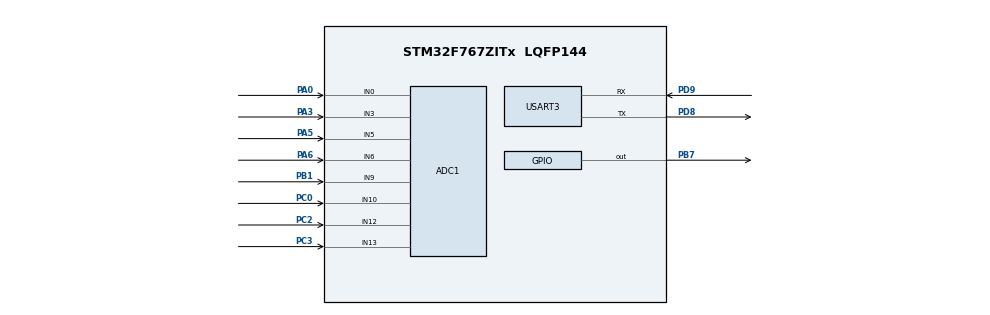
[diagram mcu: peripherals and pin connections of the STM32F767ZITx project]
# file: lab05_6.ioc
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ADC1.Channel-0\#ChannelRegularConversion=ADC_CHANNEL_3
ADC1.Channel-1\#ChannelRegularConversion=ADC_CHANNEL_10
ADC1.Channel-2\#ChannelRegularConversion=ADC_CHANNEL_13
ADC1.Channel-3\#ChannelRegularConversion=ADC_CHANNEL_0
ADC1.Channel-4\#ChannelRegularConversion=ADC_CHANNEL_9
ADC1.Channel-5\#ChannelRegularConversion=ADC_CHANNEL_12
ADC1.Channel-6\#ChannelRegularConversion=ADC_CHANNEL_5
ADC1.Channel-7\#ChannelRegularConversion=ADC_CHANNEL_6
ADC1.ContinuousConvMode=ENABLE
ADC1.DMAContinuousRequests=ENABLE
ADC1.EOCSelection=ADC_EOC_SINGLE_CONV
ADC1.NbrOfConversion=8
ADC1.NbrOfConversionFlag=1
ADC1.Rank-0\#ChannelRegularConversion=1
ADC1.Rank-1\#ChannelRegularConversion=2
ADC1.Rank-2\#ChannelRegularConversion=3
ADC1.Rank-3\#ChannelRegularConversion=4
ADC1.Rank-4\#ChannelRegularConversion=5
ADC1.Rank-5\#ChannelRegularConversion=6
ADC1.Rank-6\#ChannelRegularConversion=7
ADC1.Rank-7\#ChannelRegularConversion=8
ADC1.SamplingTime-0\#ChannelRegularConversion=ADC_SAMPLETIME_15CYCLES
ADC1.SamplingTime-1\#ChannelRegularConversion=ADC_SAMPLETIME_15CYCLES
ADC1.SamplingTime-2\#ChannelRegularConversion=ADC_SAMPLETIME_15CYCLES
ADC1.SamplingTime-3\#ChannelRegularConversion=ADC_SAMPLETIME_15CYCLES
ADC1.SamplingTime-4\#ChannelRegularConversion=ADC_SAMPLETIME_15CYCLES
ADC1.SamplingTime-5\#ChannelRegularConversion=ADC_SAMPLETIME_15CYCLES
ADC1.SamplingTime-6\#ChannelRegularConversion=ADC_SAMPLETIME_15CYCLES
ADC1.SamplingTime-7\#ChannelRegularConversion=ADC_SAMPLETIME_15CYCLES
ADC1.master=1
Dma.ADC1.0.Direction=DMA_PERIPH_TO_MEMORY
Dma.ADC1.0.FIFOMode=DMA_FIFOMODE_DISABLE
Dma.ADC1.0.Instance=DMA2_Stream0
Dma.ADC1.0.MemDataAlignment=DMA_MDATAALIGN_WORD
Dma.ADC1.0.MemInc=DMA_MINC_ENABLE
Dma.ADC1.0.Mode=DMA_CIRCULAR
Dma.ADC1.0.PeriphDataAlignment=DMA_PDATAALIGN_WORD
Dma.ADC1.0.PeriphInc=DMA_PINC_DISABLE
Dma.ADC1.0.Priority=DMA_PRIORITY_LOW
Dma.Request0=ADC1
Mcu.Family=STM32F7
Mcu.Name=STM32F767ZITx
Mcu.Package=LQFP144
NVIC.DMA2_Stream0_IRQn=true\:1\:0\:true\:false\:true\:false\:true\:true
NVIC.PriorityGroup=NVIC_PRIORITYGROUP_2
PA0/WKUP.Signal=ADCx_IN0
PA3.Signal=ADCx_IN3
PA5.Signal=ADCx_IN5
PA6.Signal=ADCx_IN6
PB1.Signal=ADCx_IN9
PB7.Signal=GPIO_Output
PC0.Signal=ADCx_IN10
PC2.Signal=ADCx_IN12
PC3.Signal=ADCx_IN13
PD8.Mode=Asynchronous
PD8.Signal=USART3_TX
PD9.Mode=Asynchronous
PD9.Signal=USART3_RX
ProjectManager.HeapSize=0x200
ProjectManager.StackSize=0x400
ProjectManager.TargetToolchain=STM32CubeIDE
RCC.HSE_VALUE=25000000
RCC.HSI_VALUE=16000000
RCC.LSE_VALUE=32768
RCC.USBFreq_Value=96000000
RCC.VCOOutputFreq_Value=192000000
SH.ADCx_IN0.0=ADC1_IN0,IN0
SH.ADCx_IN10.0=ADC1_IN10,IN10
SH.ADCx_IN12.0=ADC1_IN12,IN12
SH.ADCx_IN13.0=ADC1_IN13,IN13
SH.ADCx_IN3.0=ADC1_IN3,IN3
SH.ADCx_IN5.0=ADC1_IN5,IN5
SH.ADCx_IN6.0=ADC1_IN6,IN6
SH.ADCx_IN9.0=ADC1_IN9,IN9
USART3.VirtualMode-Asynchronous=VM_ASYNC
board=custom

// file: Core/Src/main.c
/* USER CODE BEGIN Header */
/**
  ******************************************************************************
  * @file           : main.c
  * @brief          : Main program body
  ******************************************************************************
  * @attention
  *
  * Copyright (c) 2022 STMicroelectronics.
  * All rights reserved.
  *
  * This software is licensed under terms that can be found in the LICENSE file
  * in the root directory of this software component.
  * If no LICENSE file comes with this software, it is provided AS-IS.
  *
  ******************************************************************************
  */
/* USER CODE END Header */
#include "main.h"
#include "adc.h"
#include "dma.h"
#include "usart.h"
#include "gpio.h"

/* USER CODE BEGIN Includes */
#include "stdio.h"
#include "string.h"
/* USER CODE END Includes */

/* USER CODE BEGIN PV */
uint32_t adc_val[7];
uint32_t temp[] = {3,10,13,0,9,12,5,6};
/* USER CODE END PV */

void SystemClock_Config(void);

/* USER CODE BEGIN 0 */
void displayHEX(uint32_t value[]) {
//	char b[100];
//	float x = (value * 3.3) / 4095;
//	sprintf(b, "0x%08X x = %.2f real value = %d\n\r", value, x, value);
//	HAL_UART_Transmit(&huart3, (uint32_t*) b, strlen(b), 1000);
//	HAL_Delay(400);
	char b[100];
//	float x = (value * 3.3) / 4095;
	for(int i = 0;i < 8; i++){
	sprintf(b, "ADC1 PIN = %d, 0x%08X, Vin = %.2f real value = %d\n\r",temp[i],  value[i], value[i] * 3.3 /4095, value[i]);
	HAL_UART_Transmit(&huart3, (uint32_t*) b, strlen(b), 1000);
	HAL_Delay(300);
	}
}
/* USER CODE END 0 */

int main(void)
{

  /* MCU Configuration--------------------------------------------------------*/

  /* Reset of all peripherals, Initializes the Flash interface and the Systick. */
  HAL_Init();

  /* Configure the system clock */
  SystemClock_Config();

  /* Initialize all configured peripherals */
  MX_GPIO_Init();
  MX_ADC1_Init();
  MX_DMA_Init();
  MX_USART3_UART_Init();
  /* USER CODE BEGIN 2 */
  HAL_ADC_Start_DMA(&hadc1, adc_val, 7);
  /* USER CODE END 2 */

  /* Infinite loop */
  while (1)
  {

    /* USER CODE BEGIN 3 */

	  char b[100];
//	  sprintf(b, "ADC1 PIN = %d, 0x%08X, Vin = %.2f real value = %d\n\r",temp[1],  adc_val[], value[i] * 3.3 /4095, value[i]);
	  sprintf(b, "adc1 = %d, adc2 = %d, adc3 = %d, adc4 = %d, adc5 = %d, adc6 = %d, adc7 = %d, adc8 = %d\n\r",adc_val[0],adc_val[1],adc_val[2],adc_val[3],adc_val[4],adc_val[5],adc_val[6],adc_val[7]);
	  HAL_UART_Transmit(&huart3, (uint32_t*) b, strlen(b), 1000);
	  HAL_Delay(300);
  }
  /* USER CODE END 3 */
}

void SystemClock_Config(void)
{
  RCC_OscInitTypeDef RCC_OscInitStruct = {0};
  RCC_ClkInitTypeDef RCC_ClkInitStruct = {0};

  /** Configure the main internal regulator output voltage
  */
  __HAL_RCC_PWR_CLK_ENABLE();
  __HAL_PWR_VOLTAGESCALING_CONFIG(PWR_REGULATOR_VOLTAGE_SCALE3);

  /** Initializes the RCC Oscillators according to the specified parameters
  * in the RCC_OscInitTypeDef structure.
  */
  RCC_OscInitStruct.OscillatorType = RCC_OSCILLATORTYPE_HSI;
  RCC_OscInitStruct.HSIState = RCC_HSI_ON;
  RCC_OscInitStruct.HSICalibrationValue = RCC_HSICALIBRATION_DEFAULT;
  RCC_OscInitStruct.PLL.PLLState = RCC_PLL_NONE;
  if (HAL_RCC_OscConfig(&RCC_OscInitStruct) != HAL_OK)
  {
    Error_Handler();
  }

  /** Initializes the CPU, AHB and APB buses clocks
  */
  RCC_ClkInitStruct.ClockType = RCC_CLOCKTYPE_HCLK|RCC_CLOCKTYPE_SYSCLK
                              |RCC_CLOCKTYPE_PCLK1|RCC_CLOCKTYPE_PCLK2;
  RCC_ClkInitStruct.SYSCLKSource = RCC_SYSCLKSOURCE_HSI;
  RCC_ClkInitStruct.AHBCLKDivider = RCC_SYSCLK_DIV1;
  RCC_ClkInitStruct.APB1CLKDivider = RCC_HCLK_DIV1;
  RCC_ClkInitStruct.APB2CLKDivider = RCC_HCLK_DIV1;

  if (HAL_RCC_ClockConfig(&RCC_ClkInitStruct, FLASH_LATENCY_0) != HAL_OK)
  {
    Error_Handler();
  }
}

/* USER CODE BEGIN 4 */
void HAL_ADC_ConvHalfCpltCallback(ADC_HandleTypeDef *hadc)
{
	HAL_GPIO_WritePin(GPIOB, GPIO_PIN_7, SET);
	HAL_Delay(300);
}
/* USER CODE END 4 */

void Error_Handler(void)
{
  __disable_irq();
  while (1)
  {
  }
}
